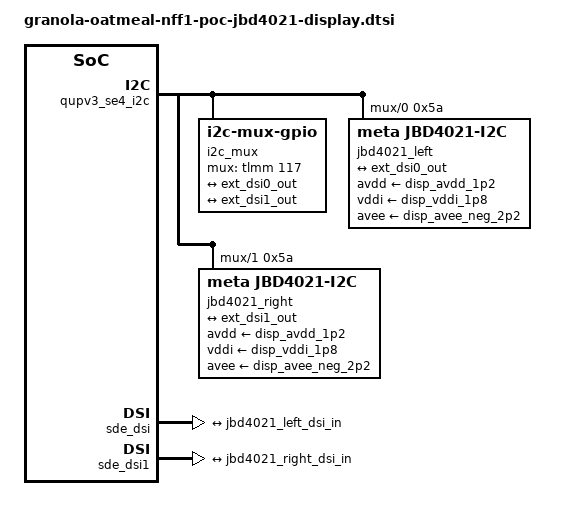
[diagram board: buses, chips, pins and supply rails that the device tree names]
// SPDX-License-Identifier: GPL-2.0

#include "vendor-base/qcom/display/neo-sde.dtsi"
#include "vendor-base/qcom/display/neo_luna-v2-sde-display.dtsi"
#include "granola-oatmeal-nff1-poc-display-gpios.dtsi"
#include "granola-oatmeal-jbd4021-panel-left.dtsi"
#include "granola-oatmeal-jbd4021-panel-right.dtsi"

&soc {
	i2c_mux: i2c-mux {
		compatible = "i2c-mux-gpio";
		#address-cells = <1>;
		#size-cells = <0>;
		i2c-parent = <&qupv3_se4_i2c>;

		pinctrl-names = "default";
		pinctrl-0 = <&i2c_mux_sel>;

		mux-gpios = <&tlmm 117 GPIO_ACTIVE_HIGH>;

		i2c@0 {
			reg = <0>;
			#address-cells = <1>;
			#size-cells = <0>;

			jbd4021_left: jbd4021@5a {
				compatible = "meta,jbd4021-i2c";
				reg = <0x5a>;

				avdd-supply = <&disp_avdd_1p2>;
				vddi-supply = <&disp_vddi_1p8>;
				avee-supply = <&disp_avee_neg_2p2>;

				status = "okay";

				ports {
					#address-cells = <1>;
					#size-cells = <0>;

					port@0 {
						reg = <0>;
						jbd4021_left_dsi_in: endpoint {
							remote-endpoint = <&ext_dsi0_out>;
						};
					};
				};
			};
		};

		i2c@1 {
			reg = <1>;
			#address-cells = <1>;
			#size-cells = <0>;

			jbd4021_right: jbd4021@5a {
				compatible = "meta,jbd4021-i2c";
				reg = <0x5a>;

				avdd-supply = <&disp_avdd_1p2>;
				vddi-supply = <&disp_vddi_1p8>;
				avee-supply = <&disp_avee_neg_2p2>;

				status = "okay";

				ports {
					#address-cells = <1>;
					#size-cells = <0>;

					port@0 {
						reg = <0>;
						jbd4021_right_dsi_in: endpoint {
							remote-endpoint = <&ext_dsi1_out>;
						};
					};
				};
			};
		};
	};
};

&sde_dsi {
	qcom,dsi-default-panel = <&dsi_jbd4021_640x480_75hz_left>;
	qcom,dsi-display-active;

	qcom,mdp = <&mdss_mdp>;
	qcom,display-type = "primary";

	ports {
		#address-cells = <1>;
		#size-cells = <0>;

		port@0 {
			reg = <0>;
			ext_dsi0_out: endpoint {
				remote-endpoint = <&jbd4021_left_dsi_in>;
			};
		};
	};
};

&sde_dsi1 {
	qcom,dsi-default-panel = <&dsi_jbd4021_640x480_75hz_right>;
	qcom,dsi-display-active;

	qcom,mdp = <&mdss_mdp>;

	ports {
		#address-cells = <1>;
		#size-cells = <0>;

		port@0 {
			reg = <0>;
			ext_dsi1_out: endpoint {
				remote-endpoint = <&jbd4021_right_dsi_in>;
			};
		};
	};
};

&mdss_mdp {
	bridges = <&jbd4021_left>, <&jbd4021_right>;
};
